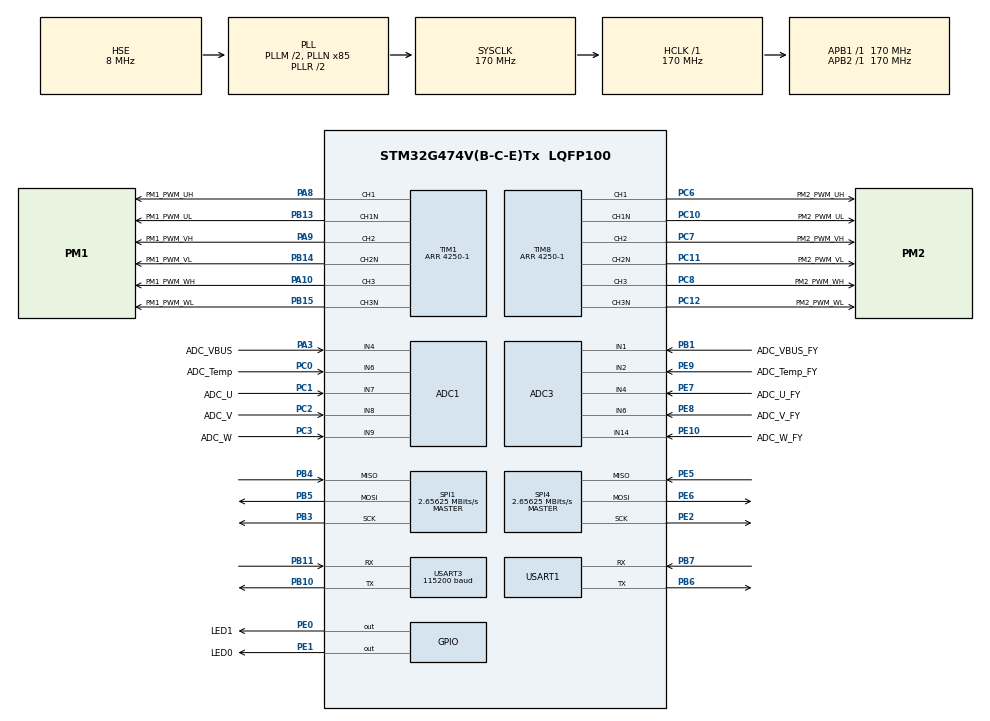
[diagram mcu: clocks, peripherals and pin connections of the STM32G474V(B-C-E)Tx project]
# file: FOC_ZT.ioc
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ADC1.Channel-0\#ChannelRegularConversion=ADC_CHANNEL_6
ADC1.ClockPrescaler=ADC_CLOCK_ASYNC_DIV6
ADC1.EOCSelection=ADC_EOC_SEQ_CONV
ADC1.EnableInjectedConversion=ENABLE
ADC1.ExternalTrigInjecConv=ADC_EXTERNALTRIGINJEC_T1_TRGO
ADC1.InjNumberOfConversion=4
ADC1.InjectedChannel-1\#ChannelInjectedConversion=ADC_CHANNEL_7
ADC1.InjectedChannel-2\#ChannelInjectedConversion=ADC_CHANNEL_8
ADC1.InjectedChannel-3\#ChannelInjectedConversion=ADC_CHANNEL_9
ADC1.InjectedChannel-4\#ChannelInjectedConversion=ADC_CHANNEL_4
ADC1.InjectedOffsetNumber-1\#ChannelInjectedConversion=ADC_OFFSET_NONE
ADC1.InjectedOffsetNumber-2\#ChannelInjectedConversion=ADC_OFFSET_NONE
ADC1.InjectedOffsetNumber-3\#ChannelInjectedConversion=ADC_OFFSET_NONE
ADC1.InjectedOffsetNumber-4\#ChannelInjectedConversion=ADC_OFFSET_NONE
ADC1.InjectedRank-1\#ChannelInjectedConversion=1
ADC1.InjectedRank-2\#ChannelInjectedConversion=2
ADC1.InjectedRank-3\#ChannelInjectedConversion=3
ADC1.InjectedRank-4\#ChannelInjectedConversion=4
ADC1.InjectedSamplingTime-1\#ChannelInjectedConversion=ADC_SAMPLETIME_12CYCLES_5
ADC1.InjectedSamplingTime-2\#ChannelInjectedConversion=ADC_SAMPLETIME_12CYCLES_5
ADC1.InjectedSamplingTime-3\#ChannelInjectedConversion=ADC_SAMPLETIME_12CYCLES_5
ADC1.InjectedSamplingTime-4\#ChannelInjectedConversion=ADC_SAMPLETIME_12CYCLES_5
ADC1.NbrOfConversionFlag=1
ADC1.OffsetNumber-0\#ChannelRegularConversion=ADC_OFFSET_NONE
ADC1.Rank-0\#ChannelRegularConversion=1
ADC1.Rank1_Channel=ADC_CHANNEL_7
ADC1.Rank2_Channel=ADC_CHANNEL_8
ADC1.Rank3_Channel=ADC_CHANNEL_9
ADC1.Rank4_Channel=ADC_CHANNEL_4
ADC1.SamplingTime-0\#ChannelRegularConversion=ADC_SAMPLETIME_12CYCLES_5
ADC1.master=1
ADC3.Channel-0\#ChannelRegularConversion=ADC_CHANNEL_2
ADC3.ClockPrescaler=ADC_CLOCK_ASYNC_DIV6
ADC3.EOCSelection=ADC_EOC_SEQ_CONV
ADC3.EnableInjectedConversion=ENABLE
ADC3.ExternalTrigInjecConv=ADC_EXTERNALTRIGINJEC_T8_TRGO
ADC3.InjNumberOfConversion=4
ADC3.InjectedChannel-1\#ChannelInjectedConversion=ADC_CHANNEL_4
ADC3.InjectedChannel-2\#ChannelInjectedConversion=ADC_CHANNEL_6
ADC3.InjectedChannel-3\#ChannelInjectedConversion=ADC_CHANNEL_14
ADC3.InjectedChannel-4\#ChannelInjectedConversion=ADC_CHANNEL_1
ADC3.InjectedOffsetNumber-1\#ChannelInjectedConversion=ADC_OFFSET_NONE
ADC3.InjectedOffsetNumber-2\#ChannelInjectedConversion=ADC_OFFSET_NONE
ADC3.InjectedOffsetNumber-3\#ChannelInjectedConversion=ADC_OFFSET_NONE
ADC3.InjectedOffsetNumber-4\#ChannelInjectedConversion=ADC_OFFSET_NONE
ADC3.InjectedRank-1\#ChannelInjectedConversion=1
ADC3.InjectedRank-2\#ChannelInjectedConversion=2
ADC3.InjectedRank-3\#ChannelInjectedConversion=3
ADC3.InjectedRank-4\#ChannelInjectedConversion=4
ADC3.InjectedSamplingTime-1\#ChannelInjectedConversion=ADC_SAMPLETIME_12CYCLES_5
ADC3.InjectedSamplingTime-2\#ChannelInjectedConversion=ADC_SAMPLETIME_12CYCLES_5
ADC3.InjectedSamplingTime-3\#ChannelInjectedConversion=ADC_SAMPLETIME_12CYCLES_5
ADC3.InjectedSamplingTime-4\#ChannelInjectedConversion=ADC_SAMPLETIME_12CYCLES_5
ADC3.NbrOfConversionFlag=1
ADC3.OffsetNumber-0\#ChannelRegularConversion=ADC_OFFSET_NONE
ADC3.Rank-0\#ChannelRegularConversion=1
ADC3.SamplingTime-0\#ChannelRegularConversion=ADC_SAMPLETIME_12CYCLES_5
ADC3.master=1
Dma.Request0=USART3_RX
Dma.Request1=USART3_TX
Dma.Request2=SPI1_RX
Dma.Request3=SPI1_TX
Dma.Request4=USART1_TX
Dma.Request5=USART1_RX
Dma.Request6=SPI4_RX
Dma.Request7=SPI4_TX
Dma.SPI1_RX.2.Direction=DMA_PERIPH_TO_MEMORY
Dma.SPI1_RX.2.EventEnable=DISABLE
Dma.SPI1_RX.2.Instance=DMA1_Channel3
Dma.SPI1_RX.2.MemDataAlignment=DMA_MDATAALIGN_BYTE
Dma.SPI1_RX.2.MemInc=DMA_MINC_ENABLE
Dma.SPI1_RX.2.Mode=DMA_NORMAL
Dma.SPI1_RX.2.PeriphDataAlignment=DMA_PDATAALIGN_BYTE
Dma.SPI1_RX.2.PeriphInc=DMA_PINC_DISABLE
Dma.SPI1_RX.2.Polarity=HAL_DMAMUX_REQ_GEN_RISING
Dma.SPI1_RX.2.Priority=DMA_PRIORITY_HIGH
Dma.SPI1_RX.2.RequestNumber=1
Dma.SPI1_RX.2.SignalID=NONE
Dma.SPI1_RX.2.SyncEnable=DISABLE
Dma.SPI1_RX.2.SyncPolarity=HAL_DMAMUX_SYNC_NO_EVENT
Dma.SPI1_RX.2.SyncRequestNumber=1
Dma.SPI1_RX.2.SyncSignalID=NONE
Dma.SPI1_TX.3.Direction=DMA_MEMORY_TO_PERIPH
Dma.SPI1_TX.3.EventEnable=DISABLE
Dma.SPI1_TX.3.Instance=DMA1_Channel4
Dma.SPI1_TX.3.MemDataAlignment=DMA_MDATAALIGN_BYTE
Dma.SPI1_TX.3.MemInc=DMA_MINC_ENABLE
Dma.SPI1_TX.3.Mode=DMA_NORMAL
Dma.SPI1_TX.3.PeriphDataAlignment=DMA_PDATAALIGN_BYTE
Dma.SPI1_TX.3.PeriphInc=DMA_PINC_DISABLE
Dma.SPI1_TX.3.Polarity=HAL_DMAMUX_REQ_GEN_RISING
Dma.SPI1_TX.3.Priority=DMA_PRIORITY_HIGH
Dma.SPI1_TX.3.RequestNumber=1
Dma.SPI1_TX.3.SignalID=NONE
Dma.SPI1_TX.3.SyncEnable=DISABLE
Dma.SPI1_TX.3.SyncPolarity=HAL_DMAMUX_SYNC_NO_EVENT
Dma.SPI1_TX.3.SyncRequestNumber=1
Dma.SPI1_TX.3.SyncSignalID=NONE
Dma.SPI4_RX.6.Direction=DMA_PERIPH_TO_MEMORY
Dma.SPI4_RX.6.EventEnable=DISABLE
Dma.SPI4_RX.6.Instance=DMA1_Channel7
Dma.SPI4_RX.6.MemDataAlignment=DMA_MDATAALIGN_BYTE
Dma.SPI4_RX.6.MemInc=DMA_MINC_ENABLE
Dma.SPI4_RX.6.Mode=DMA_NORMAL
Dma.SPI4_RX.6.PeriphDataAlignment=DMA_PDATAALIGN_BYTE
Dma.SPI4_RX.6.PeriphInc=DMA_PINC_DISABLE
Dma.SPI4_RX.6.Polarity=HAL_DMAMUX_REQ_GEN_RISING
Dma.SPI4_RX.6.Priority=DMA_PRIORITY_HIGH
Dma.SPI4_RX.6.RequestNumber=1
Dma.SPI4_RX.6.SignalID=NONE
Dma.SPI4_RX.6.SyncEnable=DISABLE
Dma.SPI4_RX.6.SyncPolarity=HAL_DMAMUX_SYNC_NO_EVENT
Dma.SPI4_RX.6.SyncRequestNumber=1
Dma.SPI4_RX.6.SyncSignalID=NONE
Dma.SPI4_TX.7.Direction=DMA_MEMORY_TO_PERIPH
Dma.SPI4_TX.7.EventEnable=DISABLE
Dma.SPI4_TX.7.Instance=DMA1_Channel8
Dma.SPI4_TX.7.MemDataAlignment=DMA_MDATAALIGN_BYTE
Dma.SPI4_TX.7.MemInc=DMA_MINC_ENABLE
Dma.SPI4_TX.7.Mode=DMA_NORMAL
Dma.SPI4_TX.7.PeriphDataAlignment=DMA_PDATAALIGN_BYTE
Dma.SPI4_TX.7.PeriphInc=DMA_PINC_DISABLE
Dma.SPI4_TX.7.Polarity=HAL_DMAMUX_REQ_GEN_RISING
Dma.SPI4_TX.7.Priority=DMA_PRIORITY_HIGH
Dma.SPI4_TX.7.RequestNumber=1
Dma.SPI4_TX.7.SignalID=NONE
Dma.SPI4_TX.7.SyncEnable=DISABLE
Dma.SPI4_TX.7.SyncPolarity=HAL_DMAMUX_SYNC_NO_EVENT
Dma.SPI4_TX.7.SyncRequestNumber=1
Dma.SPI4_TX.7.SyncSignalID=NONE
Dma.USART1_RX.5.Direction=DMA_PERIPH_TO_MEMORY
Dma.USART1_RX.5.EventEnable=DISABLE
Dma.USART1_RX.5.Instance=DMA1_Channel5
Dma.USART1_RX.5.MemDataAlignment=DMA_MDATAALIGN_BYTE
Dma.USART1_RX.5.MemInc=DMA_MINC_ENABLE
Dma.USART1_RX.5.Mode=DMA_NORMAL
Dma.USART1_RX.5.PeriphDataAlignment=DMA_PDATAALIGN_BYTE
Dma.USART1_RX.5.PeriphInc=DMA_PINC_DISABLE
Dma.USART1_RX.5.Polarity=HAL_DMAMUX_REQ_GEN_RISING
Dma.USART1_RX.5.Priority=DMA_PRIORITY_LOW
Dma.USART1_RX.5.RequestNumber=1
Dma.USART1_RX.5.SignalID=NONE
Dma.USART1_RX.5.SyncEnable=DISABLE
Dma.USART1_RX.5.SyncPolarity=HAL_DMAMUX_SYNC_NO_EVENT
Dma.USART1_RX.5.SyncRequestNumber=1
Dma.USART1_RX.5.SyncSignalID=NONE
Dma.USART1_TX.4.Direction=DMA_MEMORY_TO_PERIPH
Dma.USART1_TX.4.EventEnable=DISABLE
Dma.USART1_TX.4.Instance=DMA1_Channel6
Dma.USART1_TX.4.MemDataAlignment=DMA_MDATAALIGN_BYTE
Dma.USART1_TX.4.MemInc=DMA_MINC_ENABLE
Dma.USART1_TX.4.Mode=DMA_NORMAL
Dma.USART1_TX.4.PeriphDataAlignment=DMA_PDATAALIGN_BYTE
Dma.USART1_TX.4.PeriphInc=DMA_PINC_DISABLE
Dma.USART1_TX.4.Polarity=HAL_DMAMUX_REQ_GEN_RISING
Dma.USART1_TX.4.Priority=DMA_PRIORITY_LOW
Dma.USART1_TX.4.RequestNumber=1
Dma.USART1_TX.4.SignalID=NONE
Dma.USART1_TX.4.SyncEnable=DISABLE
Dma.USART1_TX.4.SyncPolarity=HAL_DMAMUX_SYNC_NO_EVENT
Dma.USART1_TX.4.SyncRequestNumber=1
Dma.USART1_TX.4.SyncSignalID=NONE
Dma.USART3_RX.0.Direction=DMA_PERIPH_TO_MEMORY
Dma.USART3_RX.0.EventEnable=DISABLE
Dma.USART3_RX.0.Instance=DMA1_Channel1
Dma.USART3_RX.0.MemDataAlignment=DMA_MDATAALIGN_BYTE
Dma.USART3_RX.0.MemInc=DMA_MINC_ENABLE
Dma.USART3_RX.0.Mode=DMA_NORMAL
Dma.USART3_RX.0.PeriphDataAlignment=DMA_PDATAALIGN_BYTE
Dma.USART3_RX.0.PeriphInc=DMA_PINC_DISABLE
Dma.USART3_RX.0.Polarity=HAL_DMAMUX_REQ_GEN_RISING
Dma.USART3_RX.0.Priority=DMA_PRIORITY_LOW
Dma.USART3_RX.0.RequestNumber=1
Dma.USART3_RX.0.SignalID=NONE
Dma.USART3_RX.0.SyncEnable=DISABLE
Dma.USART3_RX.0.SyncPolarity=HAL_DMAMUX_SYNC_NO_EVENT
Dma.USART3_RX.0.SyncRequestNumber=1
Dma.USART3_RX.0.SyncSignalID=NONE
Dma.USART3_TX.1.Direction=DMA_MEMORY_TO_PERIPH
Dma.USART3_TX.1.EventEnable=DISABLE
Dma.USART3_TX.1.Instance=DMA1_Channel2
Dma.USART3_TX.1.MemDataAlignment=DMA_MDATAALIGN_BYTE
Dma.USART3_TX.1.MemInc=DMA_MINC_ENABLE
Dma.USART3_TX.1.Mode=DMA_NORMAL
Dma.USART3_TX.1.PeriphDataAlignment=DMA_PDATAALIGN_BYTE
Dma.USART3_TX.1.PeriphInc=DMA_PINC_DISABLE
Dma.USART3_TX.1.Polarity=HAL_DMAMUX_REQ_GEN_RISING
Dma.USART3_TX.1.Priority=DMA_PRIORITY_LOW
Dma.USART3_TX.1.RequestNumber=1
Dma.USART3_TX.1.SignalID=NONE
Dma.USART3_TX.1.SyncEnable=DISABLE
Dma.USART3_TX.1.SyncPolarity=HAL_DMAMUX_SYNC_NO_EVENT
Dma.USART3_TX.1.SyncRequestNumber=1
Dma.USART3_TX.1.SyncSignalID=NONE
Mcu.Family=STM32G4
Mcu.Name=STM32G474V(B-C-E)Tx
Mcu.Package=LQFP100
NVIC.ADC1_2_IRQn=true\:0\:0\:true\:false\:true\:true\:true\:true
NVIC.ADC3_IRQn=true\:0\:0\:false\:false\:true\:true\:true\:true
NVIC.DMA1_Channel1_IRQn=true\:3\:0\:true\:false\:true\:false\:true\:true
NVIC.DMA1_Channel2_IRQn=true\:3\:0\:true\:false\:true\:false\:true\:true
NVIC.DMA1_Channel3_IRQn=true\:1\:0\:true\:false\:true\:false\:true\:true
NVIC.DMA1_Channel4_IRQn=true\:1\:0\:true\:false\:true\:false\:true\:true
NVIC.DMA1_Channel5_IRQn=true\:2\:0\:true\:false\:true\:false\:true\:true
NVIC.DMA1_Channel6_IRQn=true\:2\:0\:true\:false\:true\:false\:true\:true
NVIC.DMA1_Channel7_IRQn=true\:1\:0\:true\:false\:true\:false\:true\:true
NVIC.DMA1_Channel8_IRQn=true\:1\:0\:true\:false\:true\:false\:true\:true
NVIC.PriorityGroup=NVIC_PRIORITYGROUP_4
NVIC.SPI1_IRQn=true\:1\:0\:true\:false\:true\:true\:true\:true
NVIC.SPI4_IRQn=true\:1\:0\:true\:false\:true\:true\:true\:true
NVIC.USART1_IRQn=true\:2\:0\:true\:false\:true\:true\:true\:true
NVIC.USART3_IRQn=true\:3\:0\:true\:false\:true\:true\:true\:true
PA10.GPIO_Label=PM1_PWM_WH
PA10.GPIO_PuPd=GPIO_PULLDOWN
PA10.GPIO_Speed=GPIO_SPEED_FREQ_VERY_HIGH
PA10.Signal=S_TIM1_CH3
PA13.Mode=Serial_Wire
PA13.Signal=SYS_JTMS-SWDIO
PA14.Mode=Serial_Wire
PA14.Signal=SYS_JTCK-SWCLK
PA3.GPIO_Label=ADC_VBUS
PA3.Mode=IN4-Single-Ended
PA3.Signal=ADC1_IN4
PA8.GPIO_Label=PM1_PWM_UH
PA8.GPIO_PuPd=GPIO_PULLDOWN
PA8.GPIO_Speed=GPIO_SPEED_FREQ_VERY_HIGH
PA8.Signal=S_TIM1_CH1
PA9.GPIO_Label=PM1_PWM_VH
PA9.GPIO_PuPd=GPIO_PULLDOWN
PA9.GPIO_Speed=GPIO_SPEED_FREQ_VERY_HIGH
PA9.Signal=S_TIM1_CH2
PB1.GPIO_Label=ADC_VBUS_FY
PB1.Mode=IN1-Single-Ended
PB1.Signal=ADC3_IN1
PB10.Mode=Asynchronous
PB10.Signal=USART3_TX
PB11.Mode=Asynchronous
PB11.Signal=USART3_RX
PB13.GPIO_Label=PM1_PWM_UL
PB13.GPIO_PuPd=GPIO_PULLDOWN
PB13.GPIO_Speed=GPIO_SPEED_FREQ_VERY_HIGH
PB13.Mode=PWM Generation1 CH1 CH1N
PB13.Signal=TIM1_CH1N
PB14.GPIO_Label=PM1_PWM_VL
PB14.GPIO_PuPd=GPIO_PULLDOWN
PB14.GPIO_Speed=GPIO_SPEED_FREQ_VERY_HIGH
PB14.Mode=PWM Generation2 CH2 CH2N
PB14.Signal=TIM1_CH2N
PB15.GPIO_Label=PM1_PWM_WL
PB15.GPIO_PuPd=GPIO_PULLDOWN
PB15.GPIO_Speed=GPIO_SPEED_FREQ_VERY_HIGH
PB15.Mode=PWM Generation3 CH3 CH3N
PB15.Signal=TIM1_CH3N
PB3.Mode=Full_Duplex_Master
PB3.Signal=SPI1_SCK
PB4.Mode=Full_Duplex_Master
PB4.Signal=SPI1_MISO
PB5.Mode=Full_Duplex_Master
PB5.Signal=SPI1_MOSI
PB6.Mode=Asynchronous
PB6.Signal=USART1_TX
PB7.Mode=Asynchronous
PB7.Signal=USART1_RX
PC0.GPIO_Label=ADC_Temp
PC0.Mode=IN6-Single-Ended
PC0.Signal=ADC1_IN6
PC1.GPIO_Label=ADC_U
PC1.Mode=IN7-Single-Ended
PC1.Signal=ADC1_IN7
PC10.GPIO_Label=PM2_PWM_UL
PC10.GPIO_PuPd=GPIO_PULLDOWN
PC10.GPIO_Speed=GPIO_SPEED_FREQ_VERY_HIGH
PC10.Mode=PWM Generation1 CH1 CH1N
PC10.Signal=TIM8_CH1N
PC11.GPIO_Label=PM2_PWM_VL
PC11.GPIO_PuPd=GPIO_PULLDOWN
PC11.GPIO_Speed=GPIO_SPEED_FREQ_VERY_HIGH
PC11.Mode=PWM Generation2 CH2 CH2N
PC11.Signal=TIM8_CH2N
PC12.GPIO_Label=PM2_PWM_WL
PC12.GPIO_PuPd=GPIO_PULLDOWN
PC12.GPIO_Speed=GPIO_SPEED_FREQ_VERY_HIGH
PC12.Mode=PWM Generation3 CH3 CH3N
PC12.Signal=TIM8_CH3N
PC14-OSC32_IN.Mode=LSE-External-Oscillator
PC14-OSC32_IN.Signal=RCC_OSC32_IN
PC15-OSC32_OUT.Mode=LSE-External-Oscillator
PC15-OSC32_OUT.Signal=RCC_OSC32_OUT
PC2.GPIO_Label=ADC_V
PC2.Mode=IN8-Single-Ended
PC2.Signal=ADC1_IN8
PC3.GPIO_Label=ADC_W
PC3.Mode=IN9-Single-Ended
PC3.Signal=ADC1_IN9
PC6.GPIO_Label=PM2_PWM_UH
PC6.GPIO_PuPd=GPIO_PULLDOWN
PC6.GPIO_Speed=GPIO_SPEED_FREQ_VERY_HIGH
PC6.Signal=S_TIM8_CH1
PC7.GPIO_Label=PM2_PWM_VH
PC7.GPIO_PuPd=GPIO_PULLDOWN
PC7.GPIO_Speed=GPIO_SPEED_FREQ_VERY_HIGH
PC7.Signal=S_TIM8_CH2
PC8.GPIO_Label=PM2_PWM_WH
PC8.GPIO_PuPd=GPIO_PULLDOWN
PC8.GPIO_Speed=GPIO_SPEED_FREQ_VERY_HIGH
PC8.Signal=S_TIM8_CH3
PE0.GPIO_Label=LED1
PE0.PinState=GPIO_PIN_SET
PE0.Signal=GPIO_Output
PE1.GPIO_Label=LED0
PE1.PinState=GPIO_PIN_SET
PE1.Signal=GPIO_Output
PE10.GPIO_Label=ADC_W_FY
PE10.Mode=IN14-Single-Ended
PE10.Signal=ADC3_IN14
PE2.Mode=Full_Duplex_Master
PE2.Signal=SPI4_SCK
PE5.Mode=Full_Duplex_Master
PE5.Signal=SPI4_MISO
PE6.Mode=Full_Duplex_Master
PE6.Signal=SPI4_MOSI
PE7.GPIO_Label=ADC_U_FY
PE7.Mode=IN4-Single-Ended
PE7.Signal=ADC3_IN4
PE8.GPIO_Label=ADC_V_FY
PE8.Mode=IN6-Single-Ended
PE8.Signal=ADC3_IN6
PE9.GPIO_Label=ADC_Temp_FY
PE9.Mode=IN2-Single-Ended
PE9.Signal=ADC3_IN2
PF0-OSC_IN.Mode=HSE-External-Oscillator
PF0-OSC_IN.Signal=RCC_OSC_IN
PF1-OSC_OUT.Mode=HSE-External-Oscillator
PF1-OSC_OUT.Signal=RCC_OSC_OUT
ProjectManager.HeapSize=0x200
ProjectManager.StackSize=0x400
ProjectManager.TargetToolchain=CMake
RCC.ADC12Freq_Value=170000000
RCC.ADC345Freq_Value=170000000
RCC.AHBFreq_Value=170000000
RCC.APB1Freq_Value=170000000
RCC.APB1TimFreq_Value=170000000
RCC.APB2Freq_Value=170000000
RCC.APB2TimFreq_Value=170000000
RCC.CortexFreq_Value=170000000
RCC.EXTERNAL_CLOCK_VALUE=12288000
RCC.HCLKFreq_Value=170000000
RCC.HSE_VALUE=8000000
RCC.HSI48_VALUE=48000000
RCC.HSI_VALUE=16000000
RCC.PLLM=RCC_PLLM_DIV2
RCC.PLLN=85
RCC.PLLSourceVirtual=RCC_PLLSOURCE_HSE
RCC.SYSCLKFreq_VALUE=170000000
RCC.SYSCLKSource=RCC_SYSCLKSOURCE_PLLCLK
RCC.USBFreq_Value=170000000
RCC.VCOOutputFreq_Value=340000000
SH.S_TIM1_CH1.0=TIM1_CH1,PWM Generation1 CH1 CH1N
SH.S_TIM1_CH2.0=TIM1_CH2,PWM Generation2 CH2 CH2N
SH.S_TIM1_CH3.0=TIM1_CH3,PWM Generation3 CH3 CH3N
SH.S_TIM8_CH1.0=TIM8_CH1,PWM Generation1 CH1 CH1N
SH.S_TIM8_CH2.0=TIM8_CH2,PWM Generation2 CH2 CH2N
SH.S_TIM8_CH3.0=TIM8_CH3,PWM Generation3 CH3 CH3N
SPI1.BaudRatePrescaler=SPI_BAUDRATEPRESCALER_64
SPI1.CLKPhase=SPI_PHASE_2EDGE
SPI1.CLKPolarity=SPI_POLARITY_HIGH
SPI1.CRCCalculation=SPI_CRCCALCULATION_DISABLE
SPI1.CalculateBaudRate=2.65625 MBits/s
SPI1.DataSize=SPI_DATASIZE_8BIT
SPI1.Direction=SPI_DIRECTION_2LINES
SPI1.Mode=SPI_MODE_MASTER
SPI1.VirtualType=VM_MASTER
SPI4.BaudRatePrescaler=SPI_BAUDRATEPRESCALER_64
SPI4.CLKPhase=SPI_PHASE_2EDGE
SPI4.CLKPolarity=SPI_POLARITY_HIGH
SPI4.CalculateBaudRate=2.65625 MBits/s
SPI4.DataSize=SPI_DATASIZE_8BIT
SPI4.Direction=SPI_DIRECTION_2LINES
SPI4.Mode=SPI_MODE_MASTER
SPI4.VirtualType=VM_MASTER
TIM1.AutoReloadPreload=TIM_AUTORELOAD_PRELOAD_ENABLE
TIM1.Channel-PWM\ Generation1\ CH1\ CH1N=TIM_CHANNEL_1
TIM1.Channel-PWM\ Generation2\ CH2\ CH2N=TIM_CHANNEL_2
TIM1.Channel-PWM\ Generation3\ CH3\ CH3N=TIM_CHANNEL_3
TIM1.CounterMode=TIM_COUNTERMODE_CENTERALIGNED1
TIM1.DeadTime=135
TIM1.PeriodNoDither=4250-1
TIM1.RepetitionCounter=0
TIM1.TIM_MasterOutputTrigger=TIM_TRGO_UPDATE
TIM1.TIM_MasterSlaveMode=TIM_MASTERSLAVEMODE_ENABLE
TIM8.AutoReloadPreload=TIM_AUTORELOAD_PRELOAD_ENABLE
TIM8.Channel-PWM\ Generation1\ CH1\ CH1N=TIM_CHANNEL_1
TIM8.Channel-PWM\ Generation2\ CH2\ CH2N=TIM_CHANNEL_2
TIM8.Channel-PWM\ Generation3\ CH3\ CH3N=TIM_CHANNEL_3
TIM8.CounterMode=TIM_COUNTERMODE_CENTERALIGNED1
TIM8.DeadTime=135
TIM8.PeriodNoDither=4250-1
TIM8.TIM_MasterOutputTrigger=TIM_TRGO_UPDATE
TIM8.TIM_MasterSlaveMode=TIM_MASTERSLAVEMODE_ENABLE
USART1.VirtualMode-Asynchronous=VM_ASYNC
USART3.BaudRate=115200
USART3.VirtualMode-Asynchronous=VM_ASYNC
VP_SYS_VS_DBSignals.Mode=DisableDeadBatterySignals
VP_TIM1_VS_ClockSourceINT.Mode=Internal
VP_TIM8_VS_ClockSourceINT.Mode=Internal
board=custom

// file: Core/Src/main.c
/* USER CODE BEGIN Header */
/**
  ******************************************************************************
  * @file           : main.c
  * @brief          : Main program body
  ******************************************************************************
  * @attention
  *
  * Copyright (c) 2026 STMicroelectronics.
  * All rights reserved.
  *
  * This software is licensed under terms that can be found in the LICENSE file
  * in the root directory of this software component.
  * If no LICENSE file comes with this software, it is provided AS-IS.
  *
  ******************************************************************************
  */
/* USER CODE END Header */
#include "main.h"
#include "adc.h"
#include "dma.h"
#include "spi.h"
#include "tim.h"
#include "usart.h"
#include "gpio.h"

/* USER CODE BEGIN Includes */
#include "FOC_Math.h"
#include "FOC_Control.h"
#include "PID_Control.h"
#include "turntable_comm.h"
#include "tracking.h"
#include "Experiment_Control.h"
/* USER CODE END Includes */

void SystemClock_Config(void);

int main(void)
{

  /* MCU Configuration--------------------------------------------------------*/

  /* Reset of all peripherals, Initializes the Flash interface and the Systick. */
  HAL_Init();

  /* Configure the system clock */
  SystemClock_Config();

  /* Initialize all configured peripherals */
  MX_GPIO_Init();
  MX_DMA_Init();
  MX_TIM1_Init();
  MX_ADC1_Init();
  MX_USART3_UART_Init();
  MX_SPI1_Init();
  MX_USART1_UART_Init();
  MX_SPI4_Init();
  MX_TIM8_Init();
  MX_ADC3_Init();
  /* USER CODE BEGIN 2 */
  Control_Loop_Init();
  Experiment_Control_Init();
  adc_foc_init();
  /* 上电时两轴都保持关闭，必须由上位机分别显式使能。 */
  Motor_Disable(FOC_AXIS_SP);
  Motor_Disable(FOC_AXIS_FY);
  Turntable_Comm_Init();
  Tracking_Init();
  /* USER CODE END 2 */

  /* Infinite loop */
  while (1)
  {

    /* USER CODE BEGIN 3 */
    Experiment_Control_Background();
    Turntable_Comm_Task();
    Tracking_Task();

  }
  /* USER CODE END 3 */
}

void SystemClock_Config(void)
{
  RCC_OscInitTypeDef RCC_OscInitStruct = {0};
  RCC_ClkInitTypeDef RCC_ClkInitStruct = {0};

  /** Configure the main internal regulator output voltage
  */
  HAL_PWREx_ControlVoltageScaling(PWR_REGULATOR_VOLTAGE_SCALE1_BOOST);

  /** Initializes the RCC Oscillators according to the specified parameters
  * in the RCC_OscInitTypeDef structure.
  */
  RCC_OscInitStruct.OscillatorType = RCC_OSCILLATORTYPE_HSE;
  RCC_OscInitStruct.HSEState = RCC_HSE_ON;
  RCC_OscInitStruct.PLL.PLLState = RCC_PLL_ON;
  RCC_OscInitStruct.PLL.PLLSource = RCC_PLLSOURCE_HSE;
  RCC_OscInitStruct.PLL.PLLM = RCC_PLLM_DIV2;
  RCC_OscInitStruct.PLL.PLLN = 85;
  RCC_OscInitStruct.PLL.PLLP = RCC_PLLP_DIV2;
  RCC_OscInitStruct.PLL.PLLQ = RCC_PLLQ_DIV2;
  RCC_OscInitStruct.PLL.PLLR = RCC_PLLR_DIV2;
  if (HAL_RCC_OscConfig(&RCC_OscInitStruct) != HAL_OK)
  {
    Error_Handler();
  }

  /** Initializes the CPU, AHB and APB buses clocks
  */
  RCC_ClkInitStruct.ClockType = RCC_CLOCKTYPE_HCLK|RCC_CLOCKTYPE_SYSCLK
                              |RCC_CLOCKTYPE_PCLK1|RCC_CLOCKTYPE_PCLK2;
  RCC_ClkInitStruct.SYSCLKSource = RCC_SYSCLKSOURCE_PLLCLK;
  RCC_ClkInitStruct.AHBCLKDivider = RCC_SYSCLK_DIV1;
  RCC_ClkInitStruct.APB1CLKDivider = RCC_HCLK_DIV1;
  RCC_ClkInitStruct.APB2CLKDivider = RCC_HCLK_DIV1;

  if (HAL_RCC_ClockConfig(&RCC_ClkInitStruct, FLASH_LATENCY_4) != HAL_OK)
  {
    Error_Handler();
  }
}

void Error_Handler(void)
{
  /* USER CODE BEGIN Error_Handler_Debug */
  /* User can add his own implementation to report the HAL error return state */
  __disable_irq();
  while (1)
  {
    HAL_GPIO_TogglePin(LED0_GPIO_Port,LED0_Pin);
    HAL_Delay(100);
  }
  /* USER CODE END Error_Handler_Debug */
}
